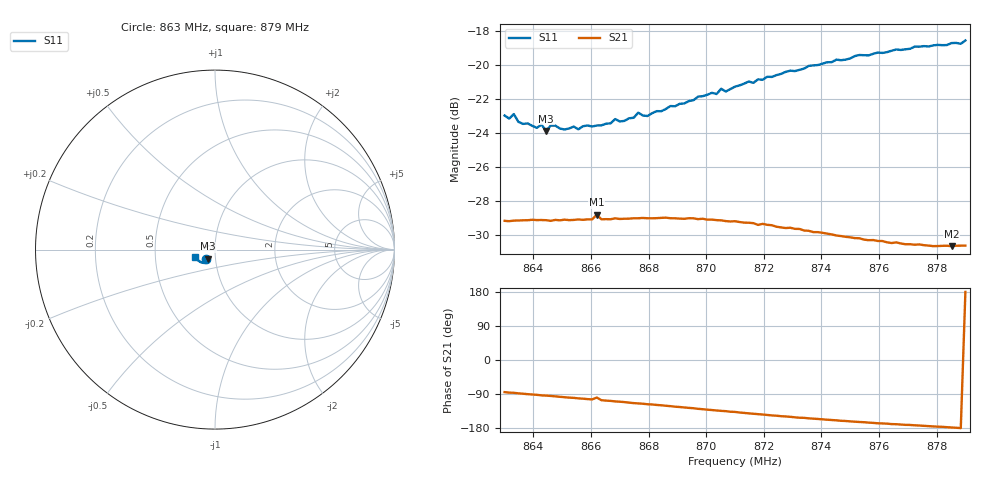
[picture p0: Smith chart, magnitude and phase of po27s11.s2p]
# HZ S RI R 50
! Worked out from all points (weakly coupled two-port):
!   101 points, 863 MHz to 879 MHz, reference 50 ohm
!   highest |S21| = -28.79 dB at 866.2 MHz (marker M1); lowest = -30.6 dB at 878.52 MHz (marker M2)
!   lowest |S11| = -23.9 dB at 864.44 MHz (marker M3), VSWR 1.14, Z = 46.1 - j4.75 ohm
!   |S11| at or under -10 dB: start of sweep to end of sweep
!   S12 and S22 are empty: the file has one direction only
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8.63e8  -0.0478 -0.0528  0.00318 -0.0348  0 0  0 0
8.6316e8  -0.0458 -0.0525  0.00236 -0.0347  0 0  0 0
8.6332e8  -0.0482 -0.0533  0.00215 -0.0349  0 0  0 0
8.6348e8  -0.0441 -0.0521  0.0012 -0.035  0 0  0 0
8.6412e8  -0.04 -0.0519  -0.00118 -0.0351  0 0  0 0
8.6428e8  -0.0397 -0.0539  -0.00207 -0.035  0 0  0 0
8.6444e8  -0.0385 -0.0514  -0.00243 -0.035  0 0  0 0
8.646e8  -0.0396 -0.0535  -0.00294 -0.0348  0 0  0 0
8.6508e8  -0.036 -0.0538  -0.00504 -0.0348  0 0  0 0
8.6572e8  -0.0356 -0.0559  -0.00735 -0.0344  0 0  0 0
8.662e8  -0.0291 -0.0598  -0.00576 -0.0359  0 0  0 0
8.6636e8  -0.0353 -0.0565  -0.00974 -0.0339  0 0  0 0
8.6684e8  -0.0349 -0.0601  -0.0118 -0.0335  0 0  0 0
8.6748e8  -0.034 -0.0613  -0.0143 -0.0325  0 0  0 0
8.6764e8  -0.0363 -0.0629  -0.0148 -0.0323  0 0  0 0
8.6796e8  -0.0348 -0.0619  -0.016 -0.0317  0 0  0 0
8.6844e8  -0.0357 -0.064  -0.0176 -0.031  0 0  0 0
8.71e8  -0.0473 -0.0725  -0.0255 -0.0238  0 0  0 0
8.7372e8  -0.0667 -0.0744  -0.0293 -0.0138  0 0  0 0
8.7644e8  -0.0909 -0.0626  -0.0295 -0.00568  0 0  0 0
8.7852e8  -0.107 -0.0454  -0.0294 -0.000984  0 0  0 0
8.79e8  -0.111 -0.041  -0.0295 0.000161  0 0  0 0
